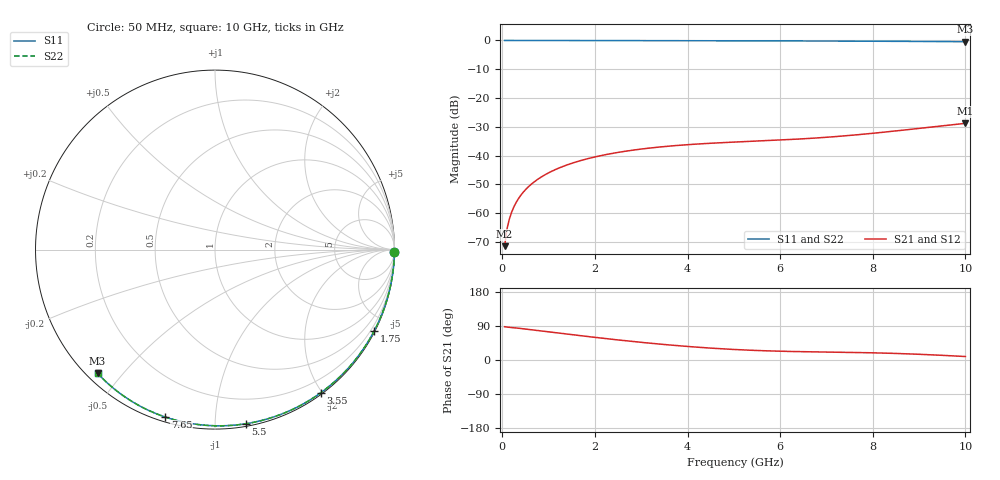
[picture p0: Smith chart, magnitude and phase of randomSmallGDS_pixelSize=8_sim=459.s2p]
! freq	dB(S11)	phase(S11)	dB(S12)	phase(S12)
!  dB(S21)	phase(S21)	dB(S22)	phase(S22)
!S-par simulation data
#  GHz  S  DB  R 50
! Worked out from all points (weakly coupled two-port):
!   200 points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, 50 MHz to 10 GHz, reference 50 ohm
!   highest |S21| = -28.81 dB at 10 GHz (marker M1); lowest = -71.5 dB at 50 MHz (marker M2)
!   lowest |S11| = -0.4 dB at 10 GHz (marker M3), VSWR 39.36, Z = 1.5 - j21.5 ohm
!   |S11| at or under -10 dB: nowhere
!   |S22| runs from -0.4 to 0.0 dB; largest |S21 - S12| = 0
!   S11 on the Smith chart (normalised r, x): 50 MHz: open; 1.75 GHz: 0.04, -4.16; 3.55 GHz: 0.02, -1.98; 5.5 GHz: 0.02, -1.19; 7.65 GHz: 0.02, -0.75; 10 GHz: 0.03, -0.43
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0.05  -0.00 -0.8  -71.52 87.9  -71.52 87.9  -0.00 -0.8
0.1  -0.00 -1.6  -65.66 86.9  -65.66 86.9  -0.00 -1.6
0.15  -0.00 -2.4  -62.22 86.3  -62.22 86.3  -0.00 -2.4
0.2  -0.00 -3.1  -59.77 85.8  -59.77 85.8  -0.00 -3.1
0.25  -0.00 -3.9  -57.86 85.2  -57.86 85.2  -0.00 -3.9
0.35  -0.00 -5.5  -54.97 83.8  -54.97 83.8  -0.00 -5.5
0.5  -0.01 -7.8  -51.91 81.7  -51.91 81.7  -0.01 -7.8
0.7  -0.01 -10.9  -49.03 78.8  -49.03 78.8  -0.01 -10.9
1  -0.02 -15.6  -46.02 74.3  -46.02 74.3  -0.02 -15.6
1.35  -0.03 -20.9  -43.55 69.1  -43.55 69.1  -0.03 -20.9
1.75  -0.03 -27.0  -41.50 63.3  -41.50 63.3  -0.03 -27.0
2.5  -0.05 -38.3  -38.92 53.0  -38.92 53.0  -0.05 -38.2
3.4  -0.07 -51.3  -37.04 42.0  -37.04 42.0  -0.07 -51.3
3.55  -0.07 -53.5  -36.81 40.3  -36.81 40.3  -0.07 -53.5
4.3  -0.09 -63.9  -35.92 33.0  -35.92 33.0  -0.09 -63.9
5.05  -0.11 -74.1  -35.30 27.5  -35.30 27.5  -0.11 -74.1
5.5  -0.13 -80.0  -34.98 25.1  -34.98 25.1  -0.13 -80.0
6.7  -0.18 -95.1  -33.99 21.5  -33.99 21.5  -0.18 -95.1
7.65  -0.24 -106.6  -32.81 19.8  -32.81 19.8  -0.24 -106.6
8.35  -0.29 -114.8  -31.71 17.9  -31.71 17.9  -0.29 -114.7
9.2  -0.36 -124.5  -30.23 14.0  -30.23 14.0  -0.36 -124.5
10  -0.44 -133.5  -28.81 9.2  -28.81 9.2  -0.44 -133.5
